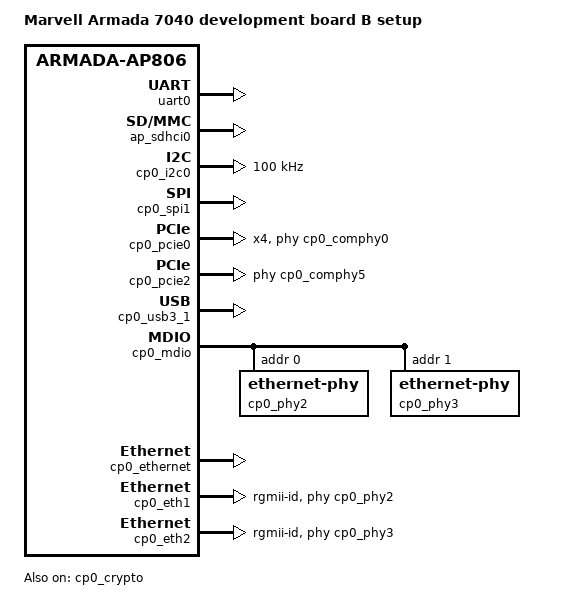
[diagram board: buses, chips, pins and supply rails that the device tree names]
// SPDX-License-Identifier: (GPL-2.0+ OR MIT)
/*
 * Device Tree file for Marvell Armada 7040 development board
 * This board file supports the B configuration of the board
 */

#include "armada-7040-db.dtsi"

/ {
	model = "Marvell Armada 7040 development board B setup";
	compatible = "marvell,armada7040-db-B", "marvell,armada7040-db",
		     "marvell,armada7040", "marvell,armada-ap806-quad",
		     "marvell,armada-ap806";

	chosen {
		stdout-path = "serial0:115200n8";
	};

	aliases {
		ethernet0 = &cp0_eth1;
		ethernet1 = &cp0_eth2;
	};
};

&uart0 {
	status = "okay";
};

&ap_sdhci0 {
	status = "okay";
};

&cp0_i2c0 {
	status = "okay";
	clock-frequency = <100000>;
};

&cp0_spi1 {
	status = "okay";
};

&cp0_pcie0 {
	status = "okay";
	num-lanes = <4>;
	/* Generic PHY, providing serdes lanes */
	phys = <&cp0_comphy0 0
		&cp0_comphy1 0
		&cp0_comphy2 0
		&cp0_comphy3 0>;
};

&cp0_pcie2 {
	status = "okay";
	phys = <&cp0_comphy5 2>;
};

&cp0_usb3_1 {
	status = "okay";
};

&cp0_mdio {
	status = "okay";

	cp0_phy2: ethernet-phy@2 {
		reg = <0>;
	};
	cp0_phy3: ethernet-phy@3 {
		reg = <1>;
	};
};

&cp0_ethernet {
	status = "okay";
};

&cp0_eth1 {
	status = "okay";
	phy = <&cp0_phy2>;
	phy-mode = "rgmii-id";
};

&cp0_eth2 {
	status = "okay";
	phy = <&cp0_phy3>;
	phy-mode = "rgmii-id";
};

&cp0_crypto {
	status = "okay";
};
